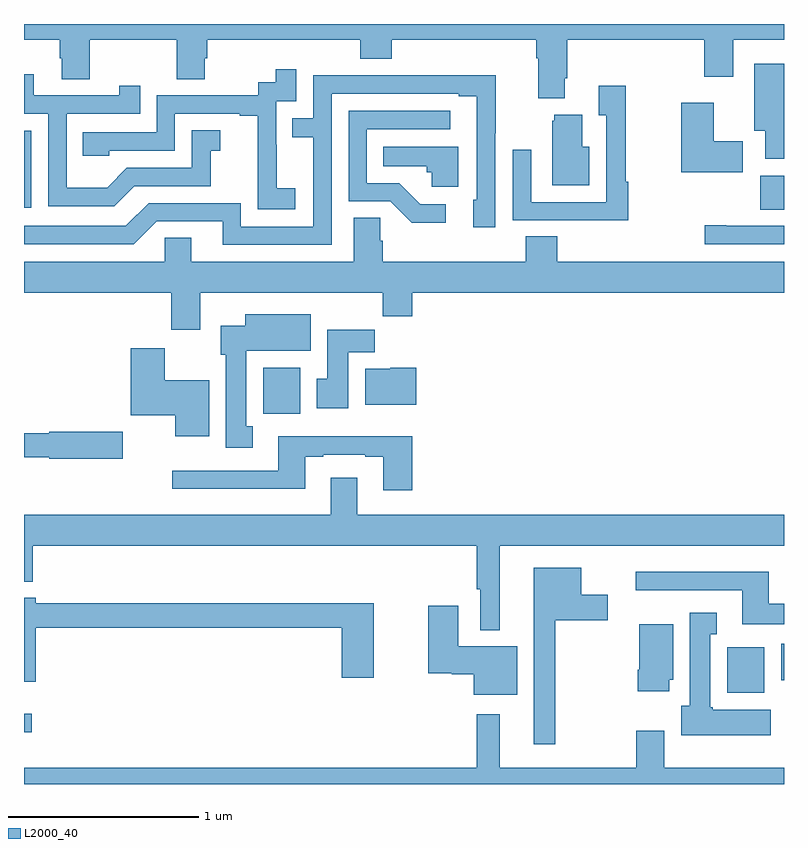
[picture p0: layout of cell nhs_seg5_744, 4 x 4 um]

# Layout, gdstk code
import gdstk
lib = gdstk.Library(unit=1e-6, precision=1e-09)
def R(c, l, rs):  # rectangles x0, y0, x1, y1
    for r in rs: c.add(gdstk.rectangle(r[:2], r[2:], *l))
def P(c, l, *ps):  # polygons
    for p in ps: c.add(gdstk.Polygon(p, *l))
L2000_40 = (2000, 40)

nhs_seg5_744 = lib.new_cell('nhs_seg5_744')
R(nhs_seg5_744, L2000_40, [(157,897.072,157.042,897.168), (160.7,897.278,160.897,897.52), (160.985,897.344,161,897.538), (158.258,898.748,158.455,898.99), (160.874,899.821,161,900), (157,899.832,157.038,900.237)])
P(nhs_seg5_744, L2000_40, [(157,900.716),(157.187,900.716),(157.187,900.618),(157.199,900.618),(157.199,900.508),(157.347,900.508),(157.347,900.716),(157.804,900.716),(157.804,900.508),(157.951,900.508),(157.951,900.618),(157.964,900.618),(157.964,900.716),(158.771,900.716),(158.771,900.617),(158.936,900.617),(158.936,900.716),(159.695,900.716),(159.695,900.62),(159.707,900.62),(159.707,900.407),(159.847,900.407),(159.847,900.514),(159.86,900.514),(159.86,900.716),(160.58,900.716),(160.58,900.522),(160.732,900.522),(160.732,900.716),(161,900.716),(161,900.799),(157,900.799)],
  [(161,900.589),(160.844,900.589),(160.844,900.236),(160.901,900.236),(160.901,900.089),(161,900.089)],
  [(158.428,899.935),(158.33,899.935),(158.33,900.164),(158.328,900.164),(158.328,900.393),(158.433,900.393),(158.433,900.562),(158.325,900.562),(158.325,900.492),(158.232,900.492),(158.232,900.423),(157.698,900.423),(157.698,900.228),(157.309,900.228),(157.309,900.105),(157.449,900.105),(157.449,900.132),(157.794,900.132),(157.794,900.327),(158.135,900.327),(158.135,900.315),(158.231,900.315),(158.231,900.031),(158.23,900.031),(158.23,899.825),(158.428,899.825)],
  [(157.579,899.946),(157.983,899.946),(157.983,900.131),(158.032,900.131),(158.032,900.241),(157.884,900.241),(157.884,900.042),(157.542,900.042),(157.438,899.938),(157.224,899.938),(157.224,900.327),(157.613,900.327),(157.613,900.475),(157.502,900.475),(157.502,900.423),(157.051,900.423),(157.051,900.535),(157,900.535),(157,900.327),(157.128,900.327),(157.128,899.841),(157.474,899.841)],
  [(158.619,900.432),(159.287,900.432),(159.287,900.42),(159.384,900.42),(159.384,899.874),(159.365,899.874),(159.365,899.73),(159.48,899.73),(159.48,900.223),(159.483,900.223),(159.483,900.53),(159.019,900.53),(159.019,900.528),(158.523,900.528),(158.523,900.303),(158.413,900.303),(158.413,900.202),(158.523,900.202),(158.523,899.733),(158.142,899.733),(158.142,899.856),(157.656,899.856),(157.536,899.736),(157,899.736),(157,899.64),(157.578,899.64),(157.698,899.76),(158.045,899.76),(158.045,899.637),(158.619,899.637)],
  [(160.181,899.969),(160.166,899.969),(160.166,900.475),(160.025,900.475),(160.025,900.319),(160.065,900.319),(160.065,899.862),(159.669,899.862),(159.669,900.136),(159.573,900.136),(159.573,899.766),(159.889,899.766),(159.889,899.765),(160.181,899.765)],
  [(160.783,900.183),(160.63,900.183),(160.63,900.385),(160.46,900.385),(160.46,900.02),(160.783,900.02)],
  [(159.22,899.85),(159.085,899.85),(158.974,899.961),(158.805,899.961),(158.805,900.246),(159.244,900.246),(159.244,900.342),(158.709,900.342),(158.709,899.865),(158.928,899.865),(159.041,899.753),(159.22,899.753)],
  [(159.976,900.154),(159.937,900.154),(159.937,900.322),(159.791,900.322),(159.791,900.291),(159.779,900.291),(159.779,899.951),(159.976,899.951)],
  [(159.286,900.154),(158.89,900.154),(158.89,900.05),(159.121,900.05),(159.121,900.018),(159.147,900.018),(159.147,899.942),(159.286,899.942)],
  [(157.927,899.384),(158.887,899.384),(158.887,899.26),(159.044,899.26),(159.044,899.384),(161,899.384),(161,899.548),(159.806,899.548),(159.806,899.681),(159.641,899.681),(159.641,899.548),(158.888,899.548),(158.888,899.657),(158.874,899.657),(158.874,899.78),(158.735,899.78),(158.735,899.548),(157.879,899.548),(157.879,899.675),(157.74,899.675),(157.74,899.548),(157,899.548),(157,899.384),(157.775,899.384),(157.775,899.19),(157.927,899.19)],
  [(161,899.736),(160.696,899.736),(160.696,899.741),(160.584,899.741),(160.584,899.64),(161,899.64)],
  [(158.203,898.682),(158.17,898.682),(158.17,899.078),(158.509,899.078),(158.509,899.272),(158.165,899.272),(158.165,899.212),(158.036,899.212),(158.036,899.058),(158.063,899.058),(158.063,898.569),(158.203,898.569)],
  [(158.707,899.072),(158.846,899.072),(158.846,899.19),(158.597,899.19),(158.597,898.932),(158.54,898.932),(158.54,898.776),(158.707,898.776)],
  [(157.975,898.924),(157.74,898.924),(157.74,899.092),(157.562,899.092),(157.562,898.739),(157.796,898.739),(157.796,898.628),(157.975,898.628)],
  [(159.064,898.99),(158.928,898.99),(158.928,898.984),(158.795,898.984),(158.795,898.796),(159.064,898.796)],
  [(157.519,898.652),(157.134,898.652),(157.134,898.646),(157,898.646),(157,898.518),(157.134,898.518),(157.134,898.51),(157.519,898.51)],
  [(159.044,898.63),(158.339,898.63),(158.339,898.449),(157.779,898.449),(157.779,898.352),(158.479,898.352),(158.479,898.521),(158.575,898.521),(158.575,898.533),(158.795,898.533),(158.795,898.521),(158.891,898.521),(158.891,898.344),(159.044,898.344)],
  [(159.505,898.052),(161,898.052),(161,898.216),(158.755,898.216),(158.755,898.411),(158.615,898.411),(158.615,898.216),(157,898.216),(157,897.863),(157.046,897.863),(157.046,898.052),(159.384,898.052),(159.384,897.823),(159.401,897.823),(159.401,897.608),(159.505,897.608)],
  [(159.797,897.662),(160.072,897.662),(160.072,897.796),(159.934,897.796),(159.934,897.937),(159.683,897.937),(159.683,897.009),(159.797,897.009)],
  [(161,897.748),(160.921,897.748),(160.921,897.916),(160.221,897.916),(160.221,897.819),(160.781,897.819),(160.781,897.639),(161,897.639)],
  [(157.061,897.622),(158.672,897.622),(158.672,897.357),(158.842,897.357),(158.842,897.751),(157.061,897.751),(157.061,897.778),(157,897.778),(157,897.336),(157.061,897.336)],
  [(159.595,897.523),(159.286,897.523),(159.286,897.736),(159.128,897.736),(159.128,897.383),(159.252,897.383),(159.252,897.376),(159.368,897.376),(159.368,897.269),(159.595,897.269)],
  [(160.93,897.19),(160.626,897.19),(160.626,897.204),(160.612,897.204),(160.612,897.587),(160.645,897.587),(160.645,897.7),(160.505,897.7),(160.505,897.21),(160.46,897.21),(160.46,897.056),(160.93,897.056)],
  [(160.396,897.348),(160.417,897.348),(160.417,897.64),(160.238,897.64),(160.238,897.4),(160.231,897.4),(160.231,897.288),(160.396,897.288)],
  [(161,896.884),(160.369,896.884),(160.369,897.079),(160.222,897.079),(160.222,896.884),(159.505,896.884),(159.505,897.166),(159.384,897.166),(159.384,896.884),(157,896.884),(157,896.799),(161,896.799)])

lib.write_gds('nhs_seg5_744.gds')
